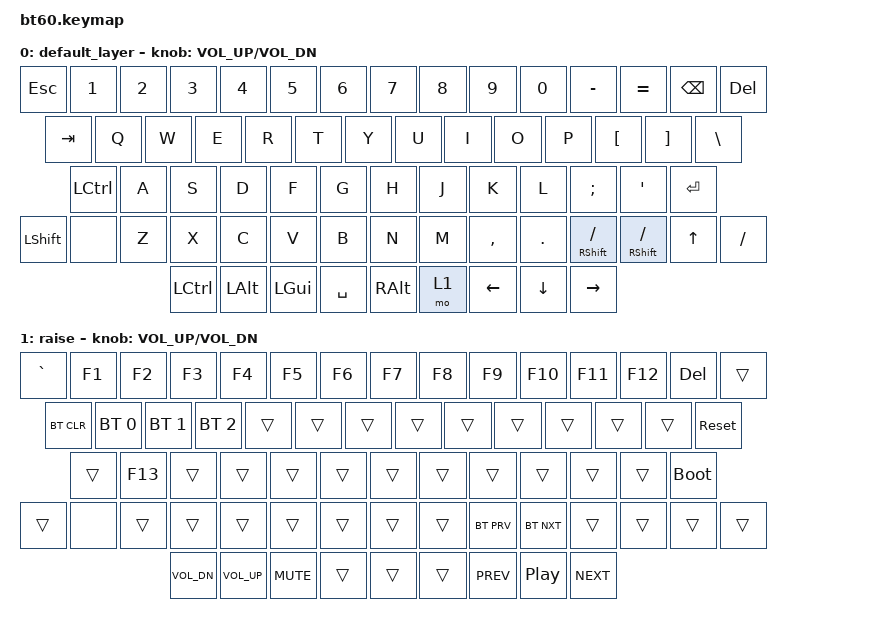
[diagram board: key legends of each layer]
#include <behaviors.dtsi>
#include <dt-bindings/zmk/keys.h>
#include <dt-bindings/zmk/bt.h>
#include <dt-bindings/zmk/rgb.h>
#include <dt-bindings/zmk/backlight.h>

/ {
	keymap {
		compatible = "zmk,keymap";

		default_layer {
				// ------------------------------------------------------------------------------------------
				// | ESC |  1  |  2  |  3  |  4  |  5  |  6  |  7  |  8  |  9  |  0  |  -  |  =  |BKSP | DEL |
				// | TAB  |  Q  |  W  |  E  |  R  |  T  |  Y  |  U  |  I  |  O  |  P  |  [  |  ]  |  |   |
				// | CTL   |  A  |  S  |  D  |  F  |  G  |  H  |  J  |  K  |  L  |  ;  |  '  |     ENTER    |
				// |  SHIFT|NONE|  Z  |  X  |  C  |  V  |  B  |  N  |  M  |  ,  |  .  | SHFT | SHIFT |  UP  |  /  |
				// |  CTL  |  ALT  |  CMD  |             SPACE               | ALT | CTRL | LEFT | DOWN | RIGHT |
				// ------------------------------------------------------------------------------------------
			bindings = <
				&kp ESC &kp N1 &kp N2 &kp N3 &kp N4 &kp N5 &kp N6 &kp N7 &kp N8 &kp N9 &kp N0 &kp MINUS &kp EQUAL &kp BSPC &kp DEL
				&kp TAB &kp Q &kp W &kp E &kp R &kp T &kp Y &kp U &kp I &kp O &kp P &kp LBKT &kp RBKT &kp BSLH
				&kp LCTRL &kp A &kp S &kp D &kp F &kp G &kp H &kp J &kp K &kp L &kp SEMI &kp SQT &kp RET
				&kp LSHFT &none &kp Z &kp X &kp C &kp V &kp B &kp N &kp M &kp COMMA &kp DOT &mt RSHFT SLASH &mt RSHFT SLASH &kp UP &kp SLASH
				&kp LCTRL &kp LALT &kp LGUI &kp SPACE &kp RALT &mo 1 &kp LEFT &kp DOWN &kp RIGHT
			>;
			sensor-bindings = <&inc_dec_kp C_VOL_UP C_VOL_DN>;
		};
		raise {
			bindings = <
				&kp GRAVE &kp F1 &kp F2 &kp F3 &kp F4 &kp F5 &kp F6 &kp F7 &kp F8 &kp F9 &kp F10 &kp F11 &kp F12 &kp DEL &trans
				&bt BT_CLR &bt BT_SEL 0 &bt BT_SEL 1 &bt BT_SEL 2 &trans &trans &trans &trans &trans &trans &trans &trans &trans &sys_reset
				&trans &kp F13 &trans &trans &trans &trans &trans &trans &trans &trans &trans &trans &bootloader
				&trans &none &trans &trans &trans &trans &trans &trans &trans &bt BT_PRV &bt BT_NXT &trans &trans &trans &trans 
				&kp C_VOL_DN &kp C_VOL_UP &kp C_MUTE &trans &trans &trans &kp C_PREV &kp C_PLAY_PAUSE &kp C_NEXT
			>;
			sensor-bindings = <&inc_dec_kp C_VOL_UP C_VOL_DN>;
		};
	};
};
